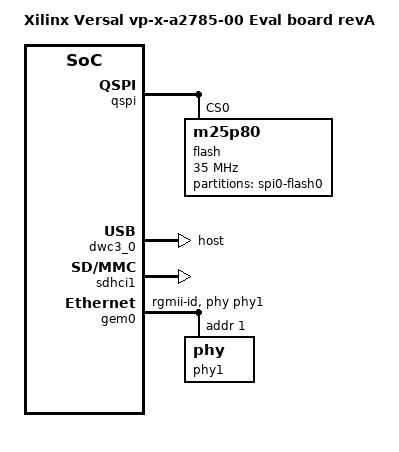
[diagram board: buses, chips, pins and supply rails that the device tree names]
// SPDX-License-Identifier: GPL-2.0
/*
 * dts file for Xilinx Versal vp-x-a2785-00 revA
 *
 * (C) Copyright 2021-2022 Xilinx, Inc.
 * (C) Copyright 2022 Advanced Micro Devices, Inc. All Rights Reserved.
 *
 * Michal Simek <michal.simek@xilinx.com>
 */

/ {
	model = "Xilinx Versal vp-x-a2785-00 Eval board revA";
	compatible = "xlnx,versal-vp-x-a2785-00-revA",
		     "xlnx,versal-vp-x-a2785-00", "xlnx,versal";

	chosen {
		bootargs = "console=ttyAMA0 earlycon=pl011,mmio32,0xFF000000,115200n8 clk_ignore_unused";
		stdout-path = "serial0:115200";
	};

	aliases {
		serial0 = &serial0;
		ethernet0 = &gem0;
		i2c0 = &i2c0;
		i2c1 = &i2c1;
		mmc0 = &sdhci1;
		spi0 = &qspi;
		usb0 = &usb0;
		rtc0 = &rtc;
	};
	/* Missing any LED for heartbeat */
};

&qspi { /* PMC_MIO_500 0 - 12 */
	status = "okay"; /* u93 and u92 */
	num-cs = <2>;
	is-dual = <1>;
	spi-rx-bus-width = <4>;
	spi-tx-bus-width = <4>;

	flash@0 {
		compatible = "m25p80", "jedec,spi-nor";
		#address-cells = <1>;
		#size-cells = <1>;
		reg = <0>, <1>;
		parallel-memories = /bits/ 64 <0x8000000 0x8000000>; /* 128MB */
		spi-tx-bus-width = <4>;
		spi-rx-bus-width = <4>;
		spi-max-frequency = <35000000>;
		partition@0 {
			label = "spi0-flash0";
			reg = <0x0 0x8000000>;
		};
	};
};

&dwc3_0 { /* USB 2.0 host */
	status = "okay";
	dr_mode = "host";
	maximum-speed = "high-speed"; /* FIXME */
	snps,dis_u2_susphy_quirk;
	snps,dis_u3_susphy_quirk;
	snps,usb3_lpm_capable;
};

&sdhci1 { /* PMC_MIO_501 26 - 36/51 */
	status = "okay";
	xlnx,mio-bank = <1>;
	no-1-8-v;
};

/* PCIe at MIO 38/39/40/50 */

&gem0 { /* PMC_MIO_48 - reset, LPD_MIO0-11 , mdio LPD_MIO24/25 */
	status = "okay";
	phy-handle = <&phy1>; /* u198 */
	phy-mode = "rgmii-id";
	phy1: phy@1 {
		reg = <1>;
		ti,rx-internal-delay = <0xb>;
		ti,tx-internal-delay = <0xa>;
		ti,fifo-depth = <1>;
		ti,dp83867-rxctrl-strap-quirk;
	};
};
